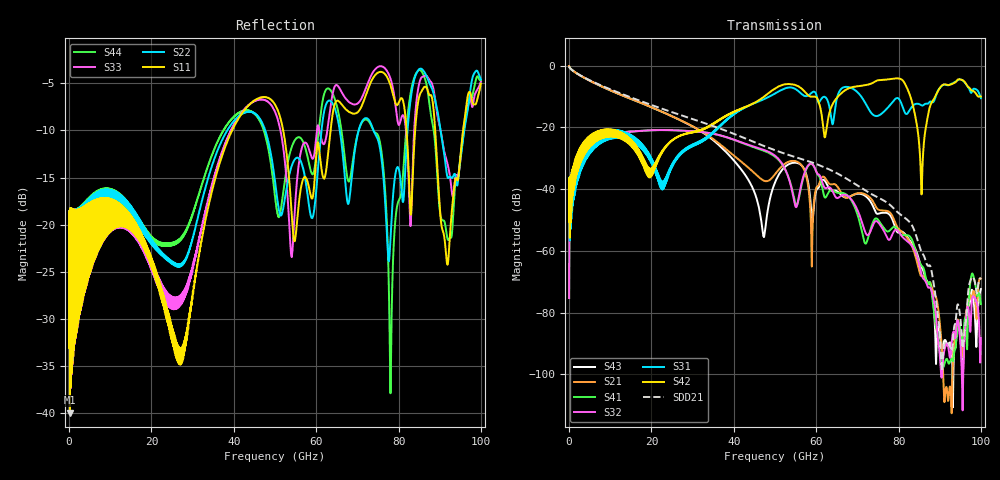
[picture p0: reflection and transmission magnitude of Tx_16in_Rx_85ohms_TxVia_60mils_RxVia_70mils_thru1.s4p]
! Info: Touchstone file created by Circ.  Input file=Tx_16in_Rx_85ohms_TxVia_60mils_RxVia_70mils.circ
# Hz S RI R 50
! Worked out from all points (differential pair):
!   10000 points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, 10 MHz to 100 GHz, reference 50 ohm
!   strongest paths, dB at 10 MHz, 25.01 GHz, 50.01 GHz, 75.01 GHz, 100 GHz:
!     S42: -50.6, -24.2, -7.4, -4.7, -10.0
!     S31: -50.6, -32.0, -9.0, -16.3, -10.5
!     S32: -75.3, -20.9, -29.2, -50.7, -88.3
!     S41: -75.3, -20.9, -29.5, -49.9, -77.2
!     S21: -0.2, -16.4, -35.2, -46.6, -69.0
!     S43: -0.2, -16.4, -37.8, -48.0, -72.4
!   taken as a pair (ports 1,3 in; 2,4 out), SDD21 dB: -0.2, -15.1, -27.4, -42.7, -69.2
!   lowest |S11| = -39.9 dB at 200 MHz (marker M1), VSWR 1.02, Z = 49.2 - j0.588 ohm
!   |S11| at or under -10 dB: start of sweep to 39.58 GHz; 52 GHz to 63.5 GHz (11.5 GHz wide, 19.9 % of centre); 88.91 GHz to 95.7 GHz (6.794 GHz wide, 7.36 % of centre)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
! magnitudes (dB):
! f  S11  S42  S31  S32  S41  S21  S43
! 10 MHz  -33.1  -50.6  -50.6  -75.3  -75.3  -0.2  -0.2
! 200 MHz  -39.9  -44.6  -44.7  -48.0  -48.0  -0.7  -0.7
! 4.97 GHz  -21.8  -23.1  -23.7  -24.6  -24.6  -4.8  -4.8
! 34.9 GHz  -16.1  -18.9  -21.7  -22.0  -22.1  -23.7  -24.0
! 78.08 GHz  -5.3  -4.3  -12.6  -55.9  -53.1  -47.8  -48.7
! 85.57 GHz  -5.9  -41.6  -12.9  -67.5  -64.8  -68.2  -65.2
! 100 GHz  -5.1  -10.0  -10.5  -88.3  -77.2  -69.0  -72.4
